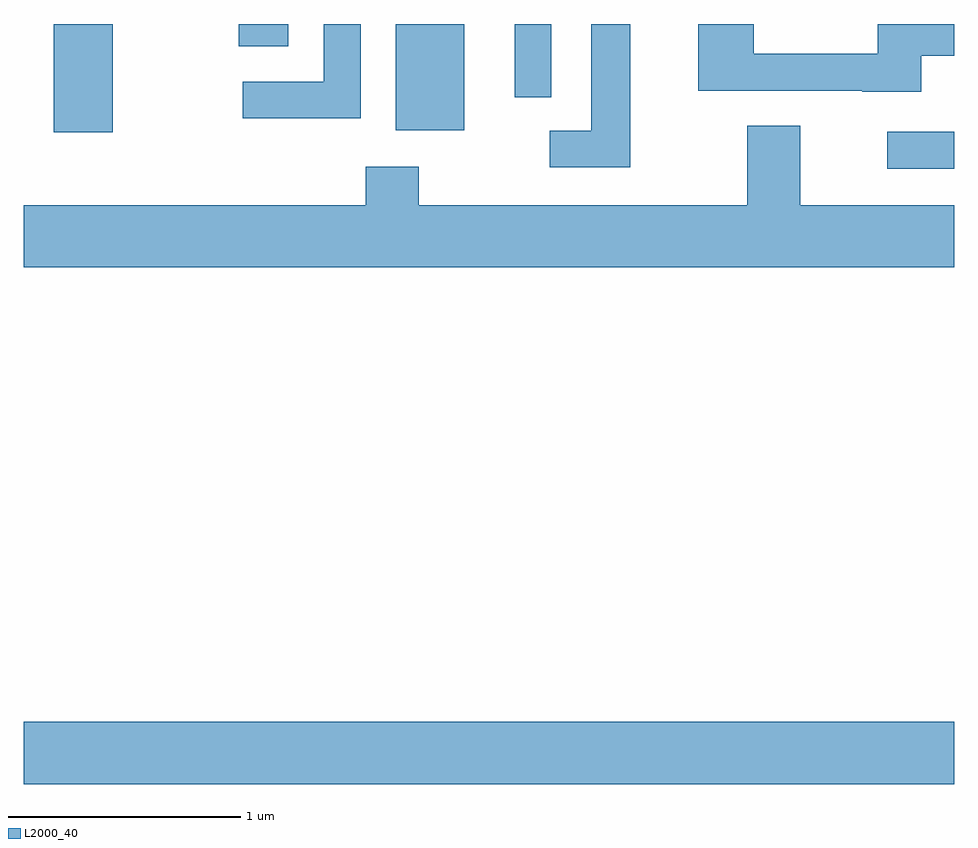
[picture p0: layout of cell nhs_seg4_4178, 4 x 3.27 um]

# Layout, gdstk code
import gdstk
lib = gdstk.Library(unit=1e-6, precision=1e-09)
def R(c, l, rs):  # rectangles x0, y0, x1, y1
    for r in rs: c.add(gdstk.rectangle(r[:2], r[2:], *l))
def P(c, l, *ps):  # polygons
    for p in ps: c.add(gdstk.Polygon(p, *l))
L2000_40 = (2000, 40)

nhs_seg4_4178 = lib.new_cell('nhs_seg4_4178')
R(nhs_seg4_4178, L2000_40, [(307.611,1314.716,311.611,1314.984), (311.323,1317.361,311.611,1317.519), (307.741,1317.516,307.994,1317.982), (309.211,1317.526,309.504,1317.982), (309.721,1317.668,309.879,1317.982), (308.536,1317.886,308.749,1317.982)])
P(nhs_seg4_4178, L2000_40, [(310.219,1317.982),(310.051,1317.982),(310.051,1317.524),(309.873,1317.524),(309.873,1317.366),(310.219,1317.366)],
  [(309.059,1317.982),(308.901,1317.982),(308.901,1317.734),(308.553,1317.734),(308.553,1317.576),(309.059,1317.576)],
  [(311.469,1317.846),(311.611,1317.846),(311.611,1317.982),(311.281,1317.982),(311.281,1317.854),(310.749,1317.854),(310.749,1317.982),(310.511,1317.982),(310.511,1317.696),(311.215,1317.696),(311.215,1317.691),(311.469,1317.691)],
  [(311.611,1317.204),(310.949,1317.204),(310.949,1317.544),(310.721,1317.544),(310.721,1317.204),(309.309,1317.204),(309.309,1317.369),(309.081,1317.369),(309.081,1317.204),(307.611,1317.204),(307.611,1316.936),(311.611,1316.936)])

lib.write_gds('nhs_seg4_4178.gds')
